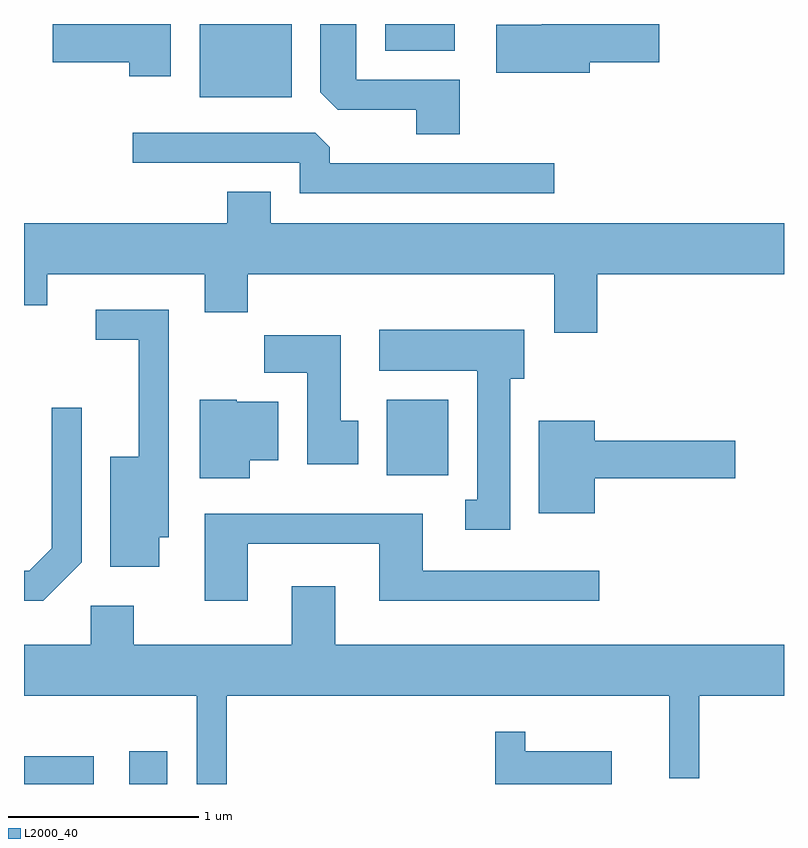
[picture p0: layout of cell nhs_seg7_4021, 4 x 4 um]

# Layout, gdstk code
import gdstk
lib = gdstk.Library(unit=1e-6, precision=1e-09)
def R(c, l, rs):  # rectangles x0, y0, x1, y1
    for r in rs: c.add(gdstk.rectangle(r[:2], r[2:], *l))
def P(c, l, *ps):  # polygons
    for p in ps: c.add(gdstk.Polygon(p, *l))
L2000_40 = (2000, 40)

nhs_seg7_4021 = lib.new_cell('nhs_seg7_4021')
R(nhs_seg7_4021, L2000_40, [(307.611,1758.252,307.978,1758.399), (308.166,1758.252,308.364,1758.424), (309.521,1759.876,309.844,1760.274), (308.536,1761.866,309.019,1762.252), (309.511,1762.111,309.879,1762.252)])
P(nhs_seg7_4021, L2000_40, [(310.589,1762.051),(310.954,1762.051),(310.954,1762.252),(310.336,1762.252),(310.336,1762.249),(310.096,1762.249),(310.096,1761.996),(310.589,1761.996)],
  [(309.904,1761.959),(309.359,1761.959),(309.359,1762.252),(309.171,1762.252),(309.171,1761.892),(309.262,1761.801),(309.676,1761.801),(309.676,1761.671),(309.904,1761.671)],
  [(308.384,1762.252),(307.761,1762.252),(307.761,1762.051),(308.166,1762.051),(308.166,1761.976),(308.384,1761.976)],
  [(310.403,1761.519),(309.219,1761.519),(309.219,1761.604),(309.144,1761.679),(308.183,1761.679),(308.183,1761.521),(309.061,1761.521),(309.061,1761.361),(310.403,1761.361)],
  [(310.629,1760.936),(311.611,1760.936),(311.611,1761.204),(308.909,1761.204),(308.909,1761.369),(308.681,1761.369),(308.681,1761.204),(307.611,1761.204),(307.611,1760.771),(307.734,1760.771),(307.734,1760.936),(308.561,1760.936),(308.561,1760.736),(308.789,1760.736),(308.789,1760.936),(310.401,1760.936),(310.401,1760.626),(310.629,1760.626)],
  [(308.324,1759.551),(308.374,1759.551),(308.374,1760.749),(307.988,1760.749),(307.988,1760.591),(308.216,1760.591),(308.216,1759.974),(308.066,1759.974),(308.066,1759.396),(308.324,1759.396)],
  [(310.169,1760.386),(310.244,1760.386),(310.244,1760.644),(309.481,1760.644),(309.481,1760.426),(309.996,1760.426),(309.996,1759.749),(309.933,1759.749),(309.933,1759.591),(310.169,1759.591)],
  [(309.369,1760.164),(309.279,1760.164),(309.279,1760.614),(308.876,1760.614),(308.876,1760.416),(309.101,1760.416),(309.101,1759.936),(309.369,1759.936)],
  [(308.799,1759.956),(308.949,1759.956),(308.949,1760.264),(308.73,1760.264),(308.73,1760.274),(308.536,1760.274),(308.536,1759.861),(308.799,1759.861)],
  [(307.914,1759.419),(307.914,1760.233),(307.756,1760.233),(307.756,1759.492),(307.639,1759.374),(307.611,1759.374),(307.611,1759.216),(307.712,1759.216)],
  [(310.614,1759.861),(311.354,1759.861),(311.354,1760.059),(310.614,1760.059),(310.614,1760.164),(310.321,1760.164),(310.321,1759.676),(310.614,1759.676)],
  [(308.789,1759.516),(309.481,1759.516),(309.481,1759.216),(310.638,1759.216),(310.638,1759.374),(309.709,1759.374),(309.709,1759.674),(308.561,1759.674),(308.561,1759.216),(308.789,1759.216)],
  [(308.679,1758.716),(311.006,1758.716),(311.006,1758.283),(311.164,1758.283),(311.164,1758.716),(311.611,1758.716),(311.611,1758.984),(309.249,1758.984),(309.249,1759.294),(309.021,1759.294),(309.021,1758.984),(308.189,1758.984),(308.189,1759.189),(307.961,1759.189),(307.961,1758.984),(307.611,1758.984),(307.611,1758.716),(308.521,1758.716),(308.521,1758.252),(308.679,1758.252)],
  [(310.704,1758.424),(310.249,1758.424),(310.249,1758.528),(310.091,1758.528),(310.091,1758.252),(310.704,1758.252)])

lib.write_gds('nhs_seg7_4021.gds')
